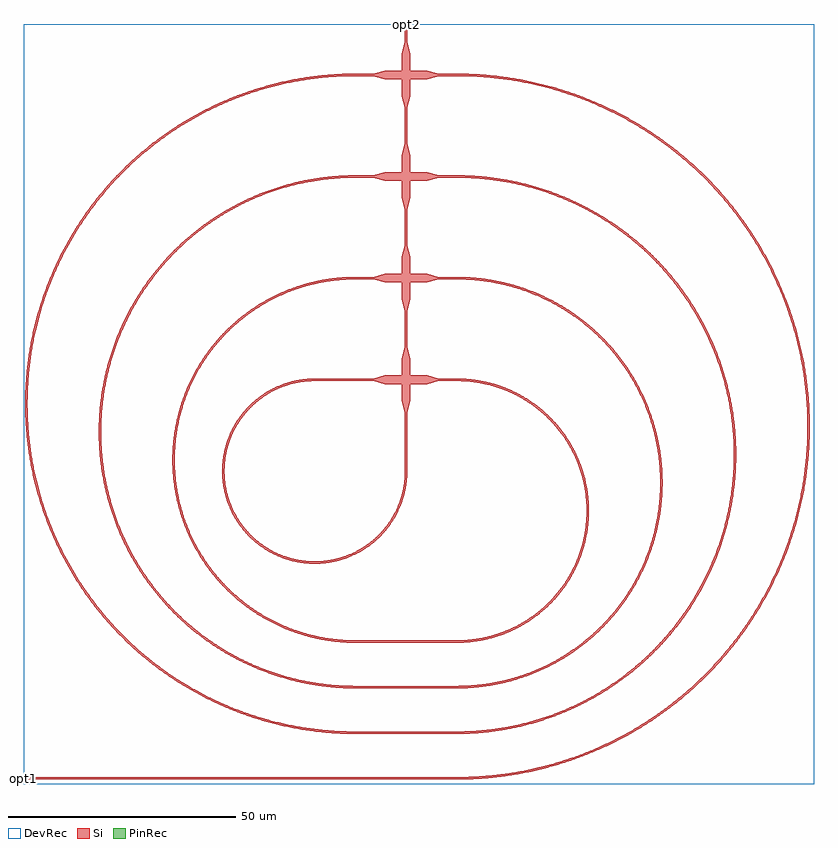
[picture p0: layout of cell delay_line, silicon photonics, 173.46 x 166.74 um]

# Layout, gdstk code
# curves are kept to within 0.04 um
from math import pi, radians
import gdstk
lib = gdstk.Library(unit=1e-6, precision=1e-09)
def R(c, l, rs):  # rectangles x0, y0, x1, y1
    for r in rs: c.add(gdstk.rectangle(r[:2], r[2:], *l))
def A(c, l, x, y, w, h, nx, ny, dx, dy):  # array of equal rectangles
    R(c, l, [(x+i*dx, y+j*dy, x+i*dx+w, y+j*dy+h) for i in range(nx) for j in range(ny)])
def P(c, l, *ps):  # polygons
    for p in ps: c.add(gdstk.Polygon(p, *l))
Si = (1, 0)
PinRec = (1, 10)
DevRec = (68, 0)

arc_7 = lib.new_cell('ARC$7')
P(arc_7, Si, [(-0.173,-56.265),(-2.933,-56.189),(-5.687,-55.977),(-8.427,-55.631),(-11.146,-55.15),(-13.839,-54.537),(-16.498,-53.792),(-19.118,-52.918),(-21.691,-51.916),(-24.212,-50.789),(-26.675,-49.54),(-29.074,-48.171),(-31.403,-46.687),(-33.656,-45.09),(-35.828,-43.384),(-37.913,-41.574),(-39.907,-39.663),(-41.806,-37.657),(-43.603,-35.561),(-45.295,-33.378),(-46.879,-31.116),(-48.349,-28.778),(-49.703,-26.371),(-50.937,-23.9),(-52.048,-21.372),(-53.034,-18.793),(-53.892,-16.168),(-54.621,-13.504),(-55.218,-10.807),(-55.681,-8.085),(-56.011,-5.343),(-56.206,-2.588),(-56.265,0.173),(-56.189,2.933),(-55.977,5.687),(-55.631,8.427),(-55.15,11.146),(-54.537,13.839),(-53.792,16.498),(-52.918,19.118),(-51.916,21.691),(-50.789,24.212),(-49.54,26.675),(-48.171,29.074),(-46.687,31.403),(-45.09,33.656),(-43.384,35.828),(-41.574,37.913),(-39.663,39.907),(-37.657,41.806),(-35.561,43.603),(-33.378,45.295),(-31.116,46.879),(-28.778,48.349),(-26.371,49.703),(-23.9,50.937),(-21.372,52.048),(-18.793,53.034),(-16.168,53.892),(-13.504,54.621),(-10.807,55.218),(-8.085,55.681),(-5.343,56.011),(-2.588,56.206),(0,56.265),(0,55.765),(-3.249,55.671),(-6.317,55.406),(-9.365,54.973),(-12.385,54.373),(-14.708,53.791),(-17.33,53.004),(-19.59,52.211),(-21.814,51.322),(-24.306,50.19),(-26.739,48.937),(-29.108,47.566),(-31.124,46.272),(-33.357,44.689),(-35.509,42.998),(-37.576,41.204),(-39.553,39.311),(-41.434,37.323),(-43.215,35.245),(-44.893,33.082),(-46.462,30.839),(-47.919,28.522),(-49.261,26.137),(-50.484,23.688),(-51.586,21.182),(-52.563,18.626),(-53.413,16.024),(-54.135,13.384),(-54.727,10.711),(-55.187,8.013),(-55.48,5.636),(-55.689,2.907),(-55.765,0.171),(-55.706,-2.565),(-55.513,-5.296),(-55.187,-8.013),(-54.727,-10.711),(-54.135,-13.384),(-53.413,-16.024),(-52.563,-18.626),(-51.586,-21.182),(-50.484,-23.688),(-49.261,-26.137),(-47.919,-28.522),(-46.462,-30.839),(-44.893,-33.082),(-43.215,-35.245),(-41.434,-37.323),(-39.553,-39.311),(-37.828,-40.973),(-35.772,-42.78),(-33.63,-44.483),(-31.407,-46.08),(-29.108,-47.566),(-27.039,-48.772),(-24.613,-50.04),(-22.128,-51.187),(-19.91,-52.09),(-17.655,-52.897),(-15.367,-53.606),(-12.718,-54.296),(-9.702,-54.915),(-6.656,-55.367),(-3.249,-55.671),(0,-55.765),(0,-56.265)])

arc_6 = lib.new_cell('ARC$6')
P(arc_6, Si, [(-0.062,-20.3),(-2.052,-20.196),(-4.143,-19.873),(-6.071,-19.371),(-7.941,-18.683),(-9.843,-17.754),(-11.536,-16.704),(-13.022,-15.573),(-14.486,-14.222),(-15.732,-12.83),(-16.982,-11.122),(-18.048,-9.294),(-18.779,-7.711),(-19.408,-5.952),(-19.898,-4.021),(-20.196,-2.052),(-20.3,0),(-19.8,0),(-19.722,-1.759),(-19.519,-3.325),(-19.162,-4.988),(-18.663,-6.613),(-18.175,-7.857),(-17.659,-8.957),(-17.076,-10.023),(-16.293,-11.252),(-15.421,-12.42),(-14.548,-13.431),(-13.609,-14.382),(-12.42,-15.421),(-11.252,-16.293),(-10.023,-17.076),(-8.957,-17.659),(-7.521,-18.316),(-6.269,-18.782),(-4.87,-19.192),(-3.325,-19.519),(-1.88,-19.711),(-0.425,-19.796),(1.032,-19.773),(2.484,-19.644),(3.922,-19.408),(5.339,-19.067),(6.728,-18.622),(8.079,-18.077),(9.28,-17.491),(10.542,-16.761),(11.746,-15.94),(12.887,-15.032),(13.958,-14.044),(14.953,-12.979),(15.94,-11.746),(16.761,-10.542),(17.491,-9.28),(18.077,-8.079),(18.622,-6.728),(19.067,-5.339),(19.408,-3.922),(19.644,-2.484),(19.773,-1.032),(19.796,0.425),(19.711,1.88),(19.519,3.325),(19.25,4.634),(18.857,6.038),(18.362,7.408),(17.767,8.739),(17.076,10.023),(16.293,11.252),(15.497,12.325),(14.63,13.342),(13.609,14.382),(12.608,15.267),(11.451,16.153),(10.335,16.889),(9.173,17.547),(7.857,18.175),(6.728,18.622),(5.105,19.131),(3.445,19.498),(1.759,19.722),(0,19.8),(0,20.3),(0.062,20.3),(2.052,20.196),(4.143,19.873),(6.071,19.371),(7.941,18.683),(9.843,17.754),(11.536,16.704),(13.022,15.573),(14.486,14.222),(15.732,12.83),(16.982,11.122),(18.048,9.294),(18.826,7.596),(19.479,5.714),(19.946,3.777),(20.22,1.804),(20.3,-0.062),(20.196,-2.052),(19.873,-4.143),(19.371,-6.071),(18.683,-7.941),(17.754,-9.843),(16.704,-11.536),(15.573,-13.022),(14.222,-14.486),(12.83,-15.732),(11.122,-16.982),(9.294,-18.048),(7.596,-18.826),(5.714,-19.479),(3.777,-19.946),(1.804,-20.22)])

arc_5 = lib.new_cell('ARC$5')
P(arc_5, Si, [(-0.123,-40.115),(-2.091,-40.061),(-4.054,-39.91),(-6.008,-39.663),(-7.947,-39.32),(-9.867,-38.883),(-11.763,-38.352),(-13.398,-37.812),(-15.238,-37.109),(-17.04,-36.316),(-18.802,-35.436),(-20.518,-34.471),(-22.184,-33.423),(-23.798,-32.294),(-25.354,-31.087),(-27.031,-29.641),(-28.453,-28.279),(-29.806,-26.848),(-31.087,-25.354),(-32.294,-23.798),(-33.423,-22.184),(-34.471,-20.518),(-35.436,-18.802),(-36.316,-17.04),(-37.109,-15.238),(-37.812,-13.398),(-38.423,-11.527),(-38.943,-9.628),(-39.368,-7.705),(-39.699,-5.764),(-39.934,-3.809),(-40.073,-1.845),(-40.115,0.123),(-40.061,2.091),(-39.91,4.054),(-39.663,6.008),(-39.32,7.947),(-38.883,9.867),(-38.352,11.763),(-37.812,13.398),(-37.109,15.238),(-36.316,17.04),(-35.436,18.802),(-34.471,20.518),(-33.423,22.184),(-32.294,23.798),(-31.087,25.354),(-29.641,27.031),(-28.279,28.453),(-26.848,29.806),(-25.354,31.087),(-23.798,32.294),(-22.184,33.423),(-20.518,34.471),(-18.802,35.436),(-17.04,36.316),(-15.238,37.109),(-13.398,37.812),(-11.527,38.423),(-9.628,38.943),(-7.705,39.368),(-5.764,39.699),(-3.809,39.934),(-1.845,40.073),(0,40.115),(0,39.615),(-2.308,39.548),(-4.729,39.332),(-7.132,38.968),(-9.272,38.515),(-12.542,37.577),(-15.72,36.363),(-17.485,35.548),(-19.208,34.647),(-20.885,33.663),(-22.311,32.735),(-23.891,31.601),(-25.225,30.546),(-26.694,29.271),(-28.098,27.926),(-29.434,26.514),(-30.7,25.038),(-31.891,23.501),(-33.006,21.908),(-34.041,20.262),(-34.995,18.567),(-35.863,16.828),(-36.646,15.048),(-37.421,13.002),(-38.014,11.15),(-38.515,9.272),(-38.878,7.609),(-39.204,5.693),(-39.436,3.762),(-39.573,1.822),(-39.615,0.122),(-39.573,-1.822),(-39.436,-3.762),(-39.204,-5.693),(-38.878,-7.609),(-38.515,-9.272),(-38.014,-11.15),(-37.421,-13.002),(-36.738,-14.823),(-35.966,-16.607),(-35.108,-18.352),(-34.165,-20.053),(-33.14,-21.705),(-32.035,-23.305),(-30.853,-24.849),(-29.597,-26.333),(-28.269,-27.753),(-26.873,-29.107),(-25.598,-30.234),(-23.891,-31.601),(-22.512,-32.597),(-20.885,-33.663),(-19.208,-34.647),(-17.703,-35.44),(-15.943,-36.266),(-12.772,-37.5),(-11.15,-38.014),(-9.272,-38.515),(-7.132,-38.968),(-4.729,-39.332),(-2.308,-39.548),(0,-39.615),(0,-40.115)])

arc_4 = lib.new_cell('ARC$4')
P(arc_4, Si, [(-0.222,-72.415),(-3.775,-72.317),(-7.319,-72.045),(-10.845,-71.599),(-14.345,-70.98),(-17.811,-70.191),(-21.234,-69.232),(-24.605,-68.107),(-27.917,-66.818),(-31.162,-65.367),(-34.332,-63.76),(-37.419,-61.998),(-40.416,-60.087),(-43.316,-58.032),(-46.111,-55.837),(-48.796,-53.507),(-51.362,-51.048),(-53.805,-48.466),(-56.118,-45.768),(-58.297,-42.959),(-60.334,-40.047),(-62.227,-37.038),(-63.969,-33.94),(-65.557,-30.761),(-66.988,-27.507),(-68.257,-24.187),(-69.361,-20.808),(-70.299,-17.38),(-71.067,-13.91),(-71.664,-10.406),(-72.088,-6.877),(-72.339,-3.331),(-72.415,0.222),(-72.317,3.775),(-72.045,7.319),(-71.599,10.845),(-70.98,14.345),(-70.191,17.811),(-69.232,21.234),(-68.107,24.605),(-66.818,27.917),(-65.367,31.162),(-63.76,34.332),(-61.998,37.419),(-60.087,40.416),(-58.032,43.316),(-55.837,46.111),(-53.507,48.796),(-51.048,51.362),(-48.466,53.805),(-45.768,56.118),(-42.959,58.297),(-40.047,60.334),(-37.038,62.227),(-33.94,63.969),(-30.761,65.557),(-27.507,66.988),(-24.187,68.257),(-20.808,69.361),(-17.38,70.299),(-13.91,71.067),(-10.406,71.664),(-6.877,72.088),(-3.331,72.339),(0,72.415),(0,71.915),(-3.749,71.818),(-7.707,71.501),(-11.642,70.967),(-15.541,70.216),(-18.968,69.369),(-21.929,68.49),(-24.85,67.486),(-28.131,66.185),(-31.345,64.725),(-34.483,63.109),(-37.538,61.341),(-40.137,59.673),(-43.017,57.631),(-45.793,55.451),(-48.459,53.137),(-51.008,50.696),(-53.434,48.132),(-55.731,45.452),(-57.894,42.663),(-59.918,39.77),(-61.797,36.782),(-63.527,33.706),(-65.105,30.548),(-66.525,27.317),(-67.785,24.02),(-68.882,20.665),(-69.813,17.26),(-70.576,13.814),(-71.169,10.334),(-71.547,7.268),(-71.818,3.749),(-71.915,0.221),(-71.858,-2.867),(-71.631,-6.39),(-71.231,-9.897),(-70.66,-13.38),(-69.918,-16.831),(-69.008,-20.242),(-67.932,-23.603),(-66.692,-26.908),(-65.291,-30.148),(-63.733,-33.315),(-62.022,-36.403),(-60.161,-39.402),(-58.155,-42.306),(-56.009,-45.109),(-53.728,-47.803),(-51.318,-50.382),(-49.107,-52.539),(-46.47,-54.885),(-43.721,-57.099),(-40.867,-59.176),(-37.914,-61.109),(-34.87,-62.896),(-31.741,-64.531),(-28.537,-66.011),(-25.676,-67.176),(-22.349,-68.355),(-18.968,-69.369),(-15.972,-70.119),(-12.077,-70.894),(-8.146,-71.453),(-4.19,-71.793),(0,-71.915),(0,-72.415)])

arc_3 = lib.new_cell('ARC$3')
P(arc_3, Si, [(0,-77.415),(0,-76.915),(4.01,-76.811),(8.243,-76.472),(12.452,-75.901),(16.622,-75.098),(20.287,-74.192),(23.454,-73.252),(26.577,-72.178),(30.087,-70.787),(33.524,-69.225),(36.88,-67.497),(40.148,-65.606),(43.319,-63.557),(46.385,-61.355),(49.34,-59.005),(52.176,-56.513),(54.554,-54.22),(57.149,-51.478),(59.606,-48.612),(61.919,-45.629),(64.084,-42.535),(66.094,-39.34),(67.722,-36.466),(69.429,-33.099),(70.97,-29.652),(72.339,-26.134),(73.535,-22.553),(74.553,-18.918),(75.391,-15.237),(76.048,-11.519),(76.522,-7.774),(76.811,-4.01),(76.915,-0.236),(76.834,3.538),(76.568,7.304),(76.117,11.052),(75.483,14.774),(74.667,18.46),(73.672,22.101),(72.655,25.244),(71.328,28.779),(69.83,32.244),(68.164,35.632),(66.334,38.934),(64.343,42.141),(62.198,45.248),(59.903,48.245),(57.464,51.126),(54.886,53.885),(52.176,56.513),(49.34,59.005),(46.385,61.355),(43.319,63.557),(40.148,65.606),(36.88,67.497),(33.524,69.225),(30.521,70.601),(27.02,72.013),(23.903,73.107),(20.287,74.192),(16.622,75.098),(12.452,75.901),(8.243,76.472),(4.01,76.811),(0,76.915),(0,77.415),(0.238,77.415),(4.036,77.31),(7.824,77.019),(11.594,76.542),(15.336,75.881),(19.041,75.037),(22.7,74.013),(26.304,72.81),(29.845,71.431),(33.314,69.881),(36.703,68.162),(40.003,66.279),(43.207,64.236),(46.307,62.039),(49.295,59.692),(52.165,57.201),(54.909,54.573),(57.52,51.813),(59.993,48.928),(62.322,45.925),(64.5,42.812),(66.523,39.596),(68.386,36.284),(70.084,32.884),(71.613,29.406),(72.97,25.857),(74.15,22.245),(75.153,18.58),(75.974,14.87),(76.612,11.124),(77.066,7.352),(77.333,3.561),(77.415,-0.238),(77.31,-4.036),(77.019,-7.824),(76.542,-11.594),(75.881,-15.336),(75.037,-19.041),(74.013,-22.7),(72.81,-26.304),(71.431,-29.845),(69.881,-33.314),(68.162,-36.703),(66.279,-40.003),(64.236,-43.207),(62.039,-46.307),(59.692,-49.295),(57.201,-52.165),(54.573,-54.909),(51.813,-57.52),(48.928,-59.993),(45.925,-62.322),(42.812,-64.5),(39.596,-66.523),(36.284,-68.386),(32.884,-70.084),(29.406,-71.613),(25.857,-72.97),(22.245,-74.15),(18.58,-75.153),(14.87,-75.974),(11.124,-76.612),(7.352,-77.066),(3.561,-77.333)])

arc_2 = lib.new_cell('ARC$2')
P(arc_2, Si, [(0,-61.265),(0,-60.765),(3.54,-60.662),(6.883,-60.374),(10.205,-59.902),(13.496,-59.248),(16.027,-58.614),(18.884,-57.757),(21.695,-56.76),(24.112,-55.777),(26.82,-54.526),(29.463,-53.145),(32.035,-51.635),(34.223,-50.212),(36.646,-48.472),(38.693,-46.854),(40.945,-44.899),(43.099,-42.836),(45.149,-40.669),(47.09,-38.405),(48.918,-36.048),(50.628,-33.604),(52.216,-31.08),(53.678,-28.48),(55.011,-25.812),(56.211,-23.082),(57.276,-20.296),(58.203,-17.461),(58.989,-14.584),(59.634,-11.672),(60.135,-8.732),(60.491,-5.77),(60.683,-3.168),(60.765,-0.186),(60.701,2.795),(60.491,5.77),(60.135,8.732),(59.634,11.672),(58.989,14.584),(58.203,17.461),(57.276,20.296),(56.211,23.082),(55.011,25.812),(53.678,28.48),(52.216,31.08),(50.628,33.604),(48.918,36.048),(47.09,38.405),(45.149,40.669),(43.099,42.836),(40.945,44.899),(38.693,46.854),(36.646,48.472),(34.223,50.212),(32.035,51.635),(29.463,53.145),(26.82,54.526),(24.112,55.777),(21.695,56.76),(18.884,57.757),(16.027,58.614),(13.496,59.248),(10.205,59.902),(6.883,60.374),(3.54,60.662),(0,60.765),(0,61.265),(0.188,61.265),(3.194,61.182),(6.192,60.952),(9.175,60.574),(12.137,60.051),(15.069,59.383),(17.964,58.572),(20.817,57.62),(23.619,56.53),(26.364,55.303),(29.046,53.942),(31.658,52.452),(34.193,50.836),(36.646,49.097),(39.011,47.239),(41.282,45.268),(43.454,43.188),(45.521,41.004),(47.478,38.721),(49.32,36.345),(51.044,33.881),(52.645,31.335),(54.12,28.714),(55.463,26.024),(56.673,23.271),(57.747,20.463),(58.682,17.604),(59.475,14.704),(60.124,11.768),(60.629,8.804),(60.988,5.818),(61.2,2.818),(61.265,-0.188),(61.182,-3.194),(60.952,-6.192),(60.574,-9.175),(60.051,-12.137),(59.383,-15.069),(58.572,-17.964),(57.62,-20.817),(56.53,-23.619),(55.303,-26.364),(53.942,-29.046),(52.452,-31.658),(50.836,-34.193),(49.097,-36.646),(47.239,-39.011),(45.268,-41.282),(43.188,-43.454),(41.004,-45.521),(38.721,-47.478),(36.646,-49.097),(34.193,-50.836),(31.658,-52.452),(29.046,-53.942),(26.364,-55.303),(23.619,-56.53),(20.817,-57.62),(17.964,-58.572),(15.069,-59.383),(12.137,-60.051),(9.175,-60.574),(6.192,-60.952),(3.194,-61.182)])

arc_1 = lib.new_cell('ARC$1')
P(arc_1, Si, [(0,-45.115),(0,-44.615),(2.326,-44.555),(5.054,-44.328),(7.493,-43.982),(10.175,-43.439),(12.031,-42.962),(13.865,-42.406),(15.673,-41.772),(17.704,-40.952),(19.692,-40.034),(21.633,-39.02),(23.521,-37.911),(25.353,-36.712),(26.906,-35.589),(28.62,-34.226),(30.265,-32.781),(31.644,-31.451),(33.149,-29.86),(34.575,-28.198),(35.754,-26.687),(37.02,-24.901),(38.197,-23.054),(39.282,-21.152),(40.273,-19.199),(41.167,-17.2),(41.961,-15.159),(42.654,-13.082),(43.245,-10.973),(43.731,-8.838),(44.112,-6.682),(44.387,-4.509),(44.555,-2.326),(44.615,-0.137),(44.568,2.052),(44.414,4.237),(44.152,6.411),(43.784,8.57),(43.311,10.708),(42.734,12.82),(42.053,14.901),(41.271,16.947),(40.506,18.703),(39.539,20.668),(38.477,22.584),(37.323,24.444),(36.078,26.246),(34.747,27.985),(33.332,29.656),(31.837,31.256),(30.265,32.781),(28.62,34.226),(26.906,35.589),(25.353,36.712),(23.521,37.911),(21.633,39.02),(19.937,39.913),(17.955,40.843),(16.184,41.576),(14.384,42.233),(12.295,42.888),(10.442,43.376),(7.762,43.935),(5.326,44.296),(2.872,44.523),(0,44.615),(0,45.115),(0.138,45.115),(2.352,45.054),(4.56,44.884),(6.757,44.606),(8.937,44.221),(10.828,43.797),(13.229,43.132),(15.329,42.431),(17.393,41.628),(19.414,40.724),(21.389,39.723),(23.312,38.625),(25.18,37.435),(26.986,36.154),(28.728,34.787),(30.4,33.335),(31.999,31.803),(33.521,30.195),(34.962,28.514),(36.319,26.764),(37.589,24.949),(38.768,23.075),(39.853,21.145),(40.843,19.164),(41.734,17.137),(42.524,15.068),(43.213,12.964),(43.797,10.828),(44.275,8.666),(44.647,6.483),(44.911,4.284),(45.067,2.075),(45.115,-0.138),(45.054,-2.352),(44.884,-4.56),(44.606,-6.757),(44.221,-8.937),(43.797,-10.828),(43.132,-13.229),(42.431,-15.329),(41.628,-17.393),(40.724,-19.414),(39.723,-21.389),(38.625,-23.312),(37.435,-25.18),(36.154,-26.986),(34.787,-28.728),(33.335,-30.4),(31.803,-31.999),(30.195,-33.521),(28.514,-34.962),(26.764,-36.319),(24.949,-37.589),(23.075,-38.768),(21.145,-39.853),(19.164,-40.843),(17.137,-41.734),(15.068,-42.524),(12.964,-43.213),(10.828,-43.797),(8.666,-44.275),(6.483,-44.647),(4.284,-44.911),(2.352,-45.054)])

arc = lib.new_cell('ARC')
P(arc, Si, [(0,-28.965),(0,-28.465),(1.658,-28.417),(3.051,-28.301),(5.981,-27.83),(8.846,-27.056),(11.615,-25.988),(13.954,-24.81),(16.176,-23.423),(18.26,-21.837),(20.19,-20.066),(22.059,-17.99),(23.716,-15.742),(25.063,-13.495),(26.265,-10.974),(27.214,-8.347),(27.901,-5.639),(28.319,-2.877),(28.465,-0.087),(28.353,2.529),(27.935,5.468),(27.265,8.179),(26.332,10.812),(25.145,13.341),(23.716,15.742),(22.169,17.855),(20.312,19.942),(18.26,21.837),(16.176,23.423),(13.954,24.81),(11.615,25.988),(8.846,27.056),(5.981,27.83),(3.051,28.301),(1.658,28.417),(0,28.465),(0,28.965),(0.089,28.965),(2.928,28.817),(5.738,28.391),(8.493,27.692),(11.167,26.726),(13.732,25.503),(16.166,24.034),(18.444,22.334),(20.544,20.419),(22.447,18.307),(24.133,16.018),(25.587,13.576),(26.794,11.002),(27.744,8.323),(28.426,5.564),(28.851,2.574),(28.965,-0.089),(28.817,-2.928),(28.391,-5.738),(27.692,-8.493),(26.726,-11.167),(25.503,-13.732),(24.034,-16.166),(22.334,-18.444),(20.419,-20.544),(18.307,-22.447),(16.018,-24.133),(13.576,-25.587),(11.167,-26.726),(8.323,-27.744),(5.564,-28.426),(2.928,-28.817)])

delay_line = lib.new_cell('delay_line')
A(delay_line, Si, 72.74, 10, 22.3, 0.5, 1, 3, 0, 10)
A(delay_line, Si, 82.94, 83.03, 1.9, 9.3, 1, 4, 0, 22.3)
A(delay_line, Si, 79.24, 86.73, 9.3, 1.9, 1, 4, 0, 22.3)
A(delay_line, Si, 72.74, 87.43, 4, 0.5, 1, 4, 0, 22.3)
A(delay_line, Si, 91.04, 87.43, 4, 0.5, 1, 4, 0, 22.3)
R(delay_line, Si, [(0,0,95.04,0.5), (83.64,67.63,84.14,76.53), (83.64,76.53,84.14,80.53), (63.84,87.43,72.74,87.93), (83.64,94.83,84.14,98.83), (83.64,98.83,84.14,102.83), (83.64,117.13,84.14,121.13), (83.64,121.13,84.14,125.13), (83.64,139.43,84.14,143.43), (83.64,143.43,84.14,147.43), (83.64,161.73,84.14,165.73)])
P(delay_line, Si, [(82.94,92.33),(83.64,94.83),(84.14,94.83),(84.84,92.33)],
  [(82.94,114.63),(83.64,117.13),(84.14,117.13),(84.84,114.63)],
  [(82.94,136.93),(83.64,139.43),(84.14,139.43),(84.84,136.93)],
  [(82.94,159.23),(83.64,161.73),(84.14,161.73),(84.84,159.23)],
  [(83.64,80.53),(82.94,83.03),(84.84,83.03),(84.14,80.53)],
  [(83.64,102.83),(82.94,105.33),(84.84,105.33),(84.14,102.83)],
  [(83.64,125.13),(82.94,127.63),(84.84,127.63),(84.14,125.13)],
  [(83.64,147.43),(82.94,149.93),(84.84,149.93),(84.14,147.43)],
  [(79.24,86.73),(76.74,87.43),(76.74,87.93),(79.24,88.63)],
  [(79.24,109.03),(76.74,109.73),(76.74,110.23),(79.24,110.93)],
  [(79.24,131.33),(76.74,132.03),(76.74,132.53),(79.24,133.23)],
  [(79.24,153.63),(76.74,154.33),(76.74,154.83),(79.24,155.53)],
  [(88.54,86.73),(88.54,88.63),(91.04,87.93),(91.04,87.43)],
  [(88.54,109.03),(88.54,110.93),(91.04,110.23),(91.04,109.73)],
  [(88.54,131.33),(88.54,133.23),(91.04,132.53),(91.04,132.03)],
  [(88.54,153.63),(88.54,155.53),(91.04,154.83),(91.04,154.33)])
R(delay_line, DevRec, [(0,-1,173.455,165.73)])
delay_line.add(gdstk.FlexPath([(83.89,165.72),(83.89,165.74)], 0.5, ends="flush", simple_path=True, layer=1, datatype=10))  # PinRec
delay_line.add(gdstk.FlexPath([(0.01,0.25),(-0.01,0.25)], 0.5, ends="flush", simple_path=True, layer=1, datatype=10))  # PinRec
delay_line.add(gdstk.Reference(arc_7, (72.74,76.265)))
delay_line.add(gdstk.Reference(arc_6, (63.84,67.63), rotation=pi, x_reflection=True))
delay_line.add(gdstk.Reference(arc_5, (72.74,70.115)))
delay_line.add(gdstk.Reference(arc_4, (72.74,82.415)))
delay_line.add(gdstk.Reference(arc_3, (95.04,77.415)))
delay_line.add(gdstk.Reference(arc_2, (95.04,71.265)))
delay_line.add(gdstk.Reference(arc_1, (95.04,65.115)))
delay_line.add(gdstk.Reference(arc, (95.04,58.965)))
delay_line.add(gdstk.Label('opt2', (83.89,165.73), layer=1, texttype=10))
delay_line.add(gdstk.Label('opt1', (0,0.25), layer=1, texttype=10))

lib.write_gds('delay_line.gds')
